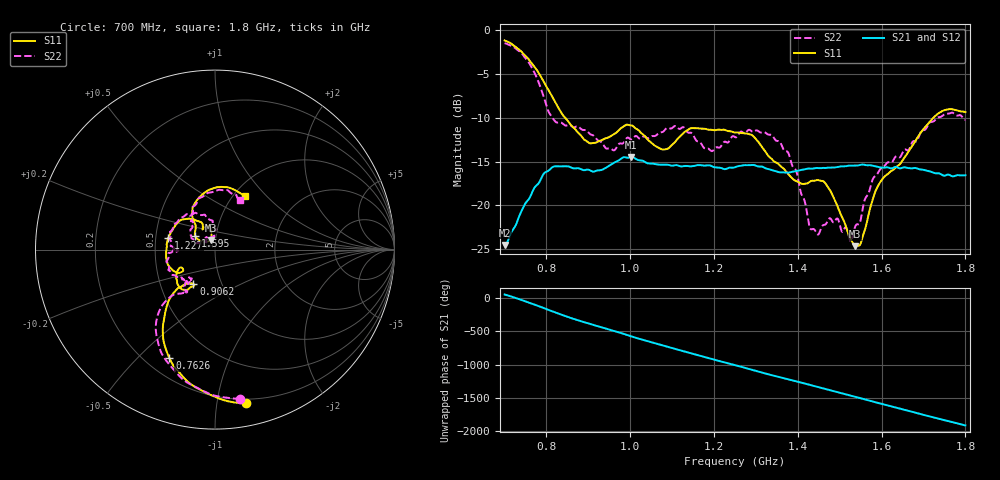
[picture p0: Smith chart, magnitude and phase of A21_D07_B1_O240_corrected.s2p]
! Created with skrf 1.9.0 (http://scikit-rf.org).
# Hz S RI R 50.0
!freq ReS11 ImS11 ReS21 ImS21 ReS12 ImS12 ReS22 ImS22
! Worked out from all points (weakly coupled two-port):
!   1601 points, 700 MHz to 1.8 GHz, reference 50 ohm
!   highest |S21| = -14.47 dB at 1.002 GHz (marker M1); lowest = -24.5 dB at 700 MHz (marker M2)
!   lowest |S11| = -24.7 dB at 1.537 GHz (marker M3), VSWR 1.12, Z = 47.3 + j5.02 ohm
!   |S11| at or under -10 dB: 844.4 MHz to 1.724 GHz (879.2 MHz wide, 68.5 % of centre)
!   |S22| runs from -24.1 to -1.5 dB; largest |S21 - S12| = 0.0036
!   S11 on the Smith chart (normalised r, x): 700 MHz: 0.17, -1.21; 762.6 MHz: 0.29, -0.62; 906.2 MHz: 0.73, -0.30; 1.227 GHz: 0.58, +0.08; 1.595 GHz: 0.79, +0.12; 1.8 GHz: 1.13, +0.76
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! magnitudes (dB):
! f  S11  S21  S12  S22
! 700 MHz  -1.2  -24.5  -24.3  -1.5
! 762.6 MHz  -3.7  -18.9  -18.8  -4.1
! 817.6 MHz  -7.9  -15.6  -15.7  -10.2
! 883.6 MHz  -12.1  -15.9  -15.8  -11.3
! 906.2 MHz  -12.9  -16.1  -16.0  -11.9
! 959.2 MHz  -11.9  -15.2  -15.2  -13.7
! 1.002 GHz  -10.9  -14.5  -14.6  -12.5
! 1.067 GHz  -13.4  -15.3  -15.3  -11.8
! 1.145 GHz  -11.2  -15.6  -15.6  -11.7
! 1.227 GHz  -11.4  -15.9  -15.8  -12.7
! 1.25 GHz  -11.7  -15.6  -15.6  -12.2
! 1.357 GHz  -15.4  -16.2  -16.2  -12.8
! 1.396 GHz  -17.2  -16.1  -16.1  -16.0
! 1.434 GHz  -17.2  -15.8  -15.8  -22.7
! 1.471 GHz  -17.9  -15.7  -15.7  -21.8
! 1.526 GHz  -23.8  -15.5  -15.4  -24.1
! 1.537 GHz  -24.7  -15.5  -15.5  -22.5
! 1.551 GHz  -24.2  -15.4  -15.4  -21.4
! 1.595 GHz  -17.5  -15.7  -15.6  -16.0
! 1.617 GHz  -16.3  -15.7  -15.7  -15.1
! 1.733 GHz  -9.6  -16.3  -16.4  -10.0
! 1.8 GHz  -9.4  -16.6  -16.6  -10.2
